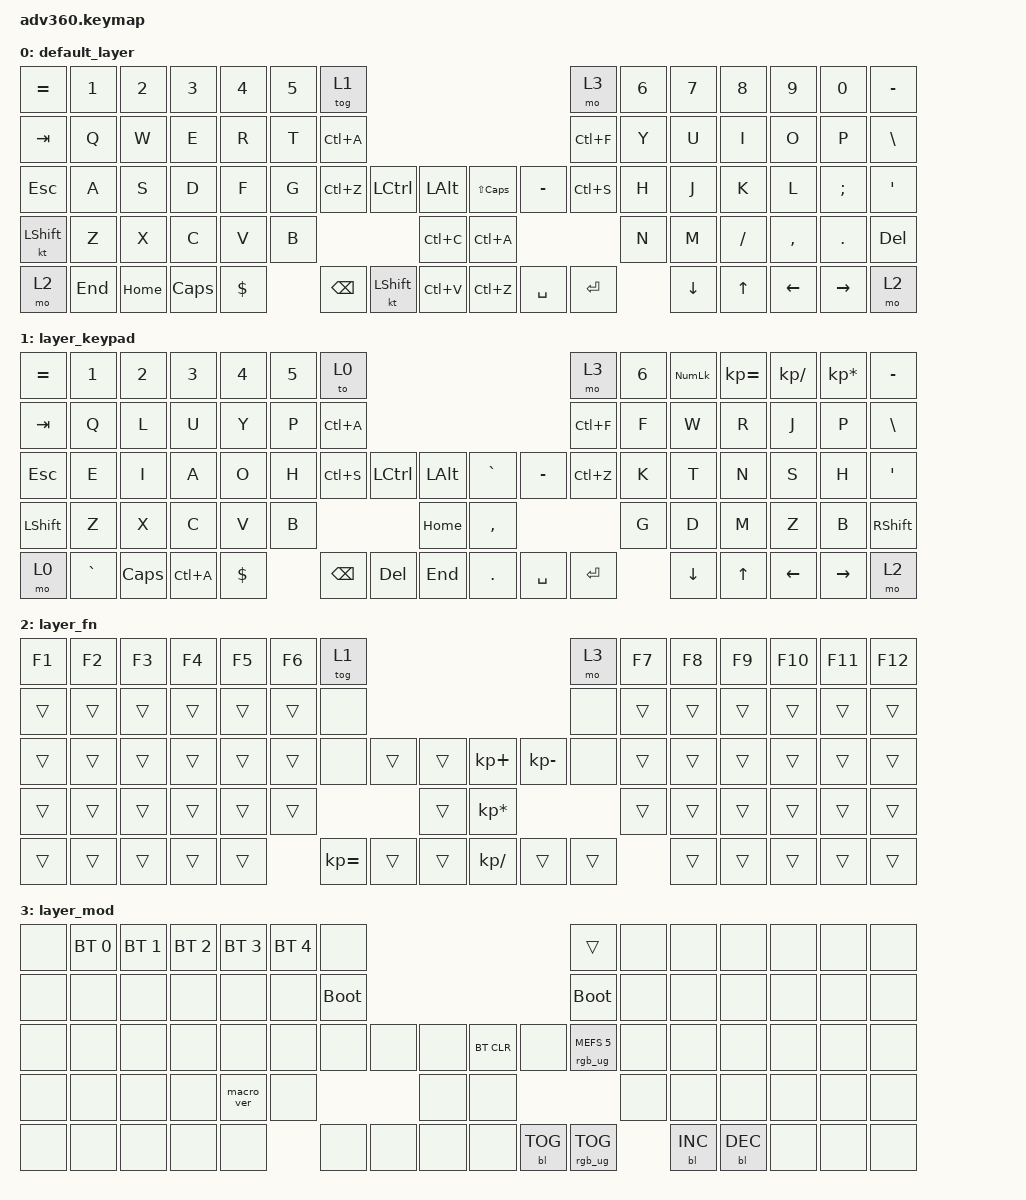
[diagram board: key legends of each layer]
/*
 * Copyright (c) 2020 The ZMK Contributors
 *
 * SPDX-License-Identifier: MIT
 */
/* THIS FILE WAS GENERATED!
 *
 * This file was generated automatically. You may or may not want to
 * edit it directly.
 */

#include <behaviors.dtsi>
#include <dt-bindings/zmk/backlight.h>
#include <dt-bindings/zmk/bt.h>
#include <dt-bindings/zmk/keys.h>
#include <dt-bindings/zmk/rgb.h>

/ {
    behaviors {
        #include "macros.dtsi"
    #include "version.dtsi"

        hm: homerow_mods {
            compatible = "zmk,behavior-hold-tap";
            label = "HOMEROW_MODS";
            #binding-cells = <2>;
            tapping-term-ms = <200>;
            quick_tap_ms = <175>;
            flavor = "tap-preferred";
            bindings = <&kp>, <&kp>;
        };
    };

    keymap {
        compatible = "zmk,keymap";

        default_layer {
            bindings = <
&kp EQUAL   &kp N1   &kp N2    &kp N3    &kp N4    &kp N5  &tog 1                                                                    &mo 3      &kp N6  &kp N7    &kp N8    &kp N9          &kp N0           &kp MINUS
&kp TAB     &kp Q    &kp W     &kp E     &kp R     &kp T   &kp LC(A)                                                                 &kp LC(F)  &kp Y   &kp U     &kp I     &kp O           &kp P            &kp BSLH
&kp ESC     &kp A    &kp S     &kp D     &kp F     &kp G   &kp LC(Z)  &kp LCTRL       &kp LEFT_ALT      &kp LS(CAPSLOCK)  &kp MINUS  &kp LC(S)  &kp H   &kp J     &kp K     &kp L           &kp SEMI         &kp SQT
&kt LSHIFT  &kp Z    &kp X     &kp C     &kp V     &kp B                              &kp LC(C)         &kp LC(A)                               &kp N   &kp M     &kp FSLH  &kp COMMA       &kp DOT          &kp DEL
&mo 2       &kp END  &kp HOME  &kp CAPS  &kp DLLR          &kp BSPC   &kt LEFT_SHIFT  &kp LC(V)         &kp LC(Z)         &kp SPACE  &kp ENTER          &kp DOWN  &kp UP    &kp LEFT_ARROW  &kp RIGHT_ARROW  &mo 2
            >;
        };

        layer_keypad {
            bindings = <
&kp EQUAL  &kp N1     &kp N2    &kp N3     &kp N4    &kp N5  &to 0                                                         &mo 3      &kp N6  &kp KP_NUM  &kp KP_EQUAL  &kp KP_DIVIDE  &kp KP_MULTIPLY  &kp MINUS
&kp TAB    &kp Q      &kp L     &kp U      &kp Y     &kp P   &kp LC(A)                                                     &kp LC(F)  &kp F   &kp W       &kp R         &kp J          &kp P            &kp BSLH
&kp ESC    &kp E      &kp I     &kp A      &kp O     &kp H   &kp LC(S)  &kp LCTRL  &kp LEFT_ALT      &kp GRAVE  &kp MINUS  &kp LC(Z)  &kp K   &kp T       &kp N         &kp S          &kp H            &kp SQT
&kp LSHFT  &kp Z      &kp X     &kp C      &kp V     &kp B                         &kp HOME          &kp COMMA                        &kp G   &kp D       &kp M         &kp Z          &kp B            &kp RSHFT
&mo 0      &kp GRAVE  &kp CAPS  &kp LC(A)  &kp DLLR          &kp BSPC   &kp DEL    &kp END           &kp DOT    &kp SPACE  &kp ENTER          &kp DOWN    &kp UP        &kp LEFT       &kp RIGHT        &mo 2
            >;
        };

        layer_fn {
            bindings = <
&kp F1  &kp F2  &kp F3  &kp F4  &kp F5  &kp F6  &tog 1                                                           &mo 3   &kp F7  &kp F8  &kp F9  &kp F10  &kp F11  &kp F12
&trans  &trans  &trans  &trans  &trans  &trans  &none                                                            &none   &trans  &trans  &trans  &trans   &trans   &trans
&trans  &trans  &trans  &trans  &trans  &trans  &none         &trans  &trans      &kp KP_PLUS      &kp KP_MINUS  &none   &trans  &trans  &trans  &trans   &trans   &trans
&trans  &trans  &trans  &trans  &trans  &trans                        &trans      &kp KP_ASTERISK                        &trans  &trans  &trans  &trans   &trans   &trans
&trans  &trans  &trans  &trans  &trans          &kp KP_EQUAL  &trans  &trans      &kp KP_SLASH     &trans        &trans          &trans  &trans  &trans   &trans   &trans
            >;
        };

        layer_mod {
            bindings = <
&none  &bt BT_SEL 0  &bt BT_SEL 1  &bt BT_SEL 2  &bt BT_SEL 3  &bt BT_SEL 4  &none                                                  &trans                  &none  &none       &none       &none  &none  &none
&none  &none         &none         &none         &none         &none         &bootloader                                            &bootloader             &none  &none       &none       &none  &none  &none
&none  &none         &none         &none         &none         &none         &none        &none  &none      &bt BT_CLR  &none       &rgb_ug RGB_MEFS_CMD 5  &none  &none       &none       &none  &none  &none
&none  &none         &none         &none         &macro_ver    &none                             &none      &none                                           &none  &none       &none       &none  &none  &none
&none  &none         &none         &none         &none                       &none        &none  &none      &none       &bl BL_TOG  &rgb_ug RGB_TOG                &bl BL_INC  &bl BL_DEC  &none  &none  &none
            >;
        };
    };
};
